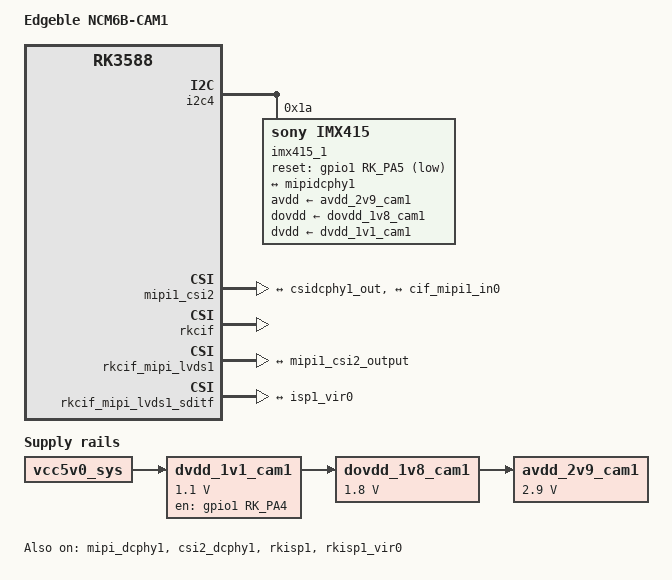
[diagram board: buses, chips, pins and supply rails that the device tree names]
/dts-v1/;
/plugin/;

#include <dt-bindings/clock/rk3588-cru.h>
#include <dt-bindings/power/rk3588-power.h>
#include <dt-bindings/gpio/gpio.h>
#include <dt-bindings/pinctrl/rockchip.h>


/ {
	fragment@0 {
		target-path = "/";

		__overlay__ {
			model = "Edgeble NCM6B-CAM1";
			compatible = "edgeble,neural-compute-module-6b-io", "rockchip,rk3588";	
			
			dvdd_1v1_cam1: dvdd-1v1-cam1-regulator {
				compatible = "regulator-fixed";
				regulator-name = "dvdd_1v1_cam1";
				enable-active-high;
				gpio = <&gpio1 RK_PA4 GPIO_ACTIVE_HIGH>;
				pinctrl-names = "default";
				pinctrl-0 = <&pwdn_gpio_cam1>;
				regulator-always-on;
				regulator-boot-on;
				regulator-min-microvolt = <1100000>;
				regulator-max-microvolt = <1100000>;
				vin-supply = <&vcc5v0_sys>;
			};

			dovdd_1v8_cam1: dovdd-1v8-cam1-regulator {
				compatible = "regulator-fixed";
				regulator-name = "dovdd_1v8_cam1";
				regulator-always-on;
				regulator-boot-on;
				regulator-min-microvolt = <1800000>;
				regulator-max-microvolt = <1800000>;
				vin-supply = <&dvdd_1v1_cam1>;
			};

			avdd_2v9_cam1: avdd-2v9-cam1-regulator {
				compatible = "regulator-fixed";
				regulator-name = "avdd_2v9_cam1";
				regulator-always-on;
				regulator-boot-on;
				regulator-min-microvolt = <2900000>;
				regulator-max-microvolt = <2900000>;
				vin-supply = <&dovdd_1v8_cam1>;
			};
		};
	};

	fragment@1 {
		target = <&pinctrl>;

		__overlay__ {
			cam1 {
				pwdn_gpio_cam1: pwdn-gpio-cam1 {
					rockchip,pins = <1 RK_PA4 RK_FUNC_GPIO &pcfg_pull_none>;
				};
			};
		};
	};

	fragment@2 {
		target = <&i2c4>;

		__overlay__ {
			pinctrl-names = "default";
			pinctrl-0 = <&i2c4m1_xfer>;
			#address-cells = <1>;
			#size-cells = <0>;
			status = "okay";

			imx415_1: imx415@1a {
				compatible = "sony,imx415";
				reg = <0x1a>;
				clocks = <&cru CLK_MIPI_CAMARAOUT_M2>;
				clock-names = "xvclk";
				pinctrl-names = "default";
				pinctrl-0 = <&mipim0_camera2_clk>;
				power-domains = <&power RK3588_PD_VI>;
				reset-gpios = <&gpio1 RK_PA5 GPIO_ACTIVE_LOW>;
				avdd-supply = <&avdd_2v9_cam1>;
				dovdd-supply = <&dovdd_1v8_cam1>;
				dvdd-supply = <&dvdd_1v1_cam1>;
				rockchip,camera-module-index = <1>;
				rockchip,camera-module-facing = "back";
				rockchip,camera-module-name = "EDGEBLE-CAM4K-A00";
				rockchip,camera-module-lens-name = "DEFAULT";
				port {
					imx415_1_out0: endpoint {
						remote-endpoint = <&mipidcphy1>;
						data-lanes = <1 2 3 4>;
					};
				};
			};
		};
	};

	fragment@3 {
		target = <&mipi_dcphy1>;

		__overlay__ {
			status = "okay";
		};
	};
	
	fragment@4 {
		target = <&csi2_dcphy1>;

		__overlay__ {
			status = "okay";

			ports {
				#address-cells = <1>;
				#size-cells = <0>;

				port@0 {
					reg = <0>;
					#address-cells = <1>;
					#size-cells = <0>;

					mipidcphy1: endpoint@1 {
						reg = <1>;
						remote-endpoint = <&imx415_1_out0>;
						data-lanes = <1 2 3 4>;
					};
				};

				port@1 {
					reg = <1>;
					#address-cells = <1>;
					#size-cells = <0>;

					csidcphy1_out: endpoint@0 {
						reg = <0>;
						remote-endpoint = <&mipi1_csi2_input>;
					};
				};
			};
		};
	};
	
	fragment@5 {
		target = <&mipi1_csi2>;

		__overlay__ {
			status = "okay";

			ports {
				#address-cells = <1>;
				#size-cells = <0>;

				port@0 {
					reg = <0>;
					#address-cells = <1>;
					#size-cells = <0>;

					mipi1_csi2_input: endpoint@1 {
						reg = <1>;
						remote-endpoint = <&csidcphy1_out>;
					};
				};

				port@1 {
					reg = <1>;
					#address-cells = <1>;
					#size-cells = <0>;

					mipi1_csi2_output: endpoint@0 {
						reg = <0>;
						remote-endpoint = <&cif_mipi1_in0>;
					};
				};
			};
		};
	};

	fragment@6 {
		target = <&rkcif>;

		__overlay__ {
			status = "okay";
		};
	};

	fragment@7 {
		target = <&rkcif_mipi_lvds1>;

		__overlay__ {
			status = "okay";

			port {
				cif_mipi1_in0: endpoint {
					remote-endpoint = <&mipi1_csi2_output>;
				};
			};
		};
	};

	fragment@8 {
		target = <&rkcif_mipi_lvds1_sditf>;

		__overlay__ {
			status = "okay";

			port {
				mipi_lvds1_sditf: endpoint {
					remote-endpoint = <&isp1_vir0>;
				};
			};
		};
	};

	fragment@9 {
		target = <&rkcif_mmu>;

		__overlay__ {
			status = "okay";
		};
	};

	fragment@10 {
		target = <&rkisp1>;

		__overlay__ {
			status = "okay";
		};
	};

	fragment@11 {
		target = <&isp1_mmu>;

		__overlay__ {
			status = "okay";
		};
	};

	fragment@12 {
		target = <&rkisp1_vir0>;

		__overlay__ {
			status = "okay";

			port {
				#address-cells = <1>;
				#size-cells = <0>;

				isp1_vir0: endpoint@0 {
					reg = <0>;
					remote-endpoint = <&mipi_lvds1_sditf>;
				};
			};
		};
	};
};
